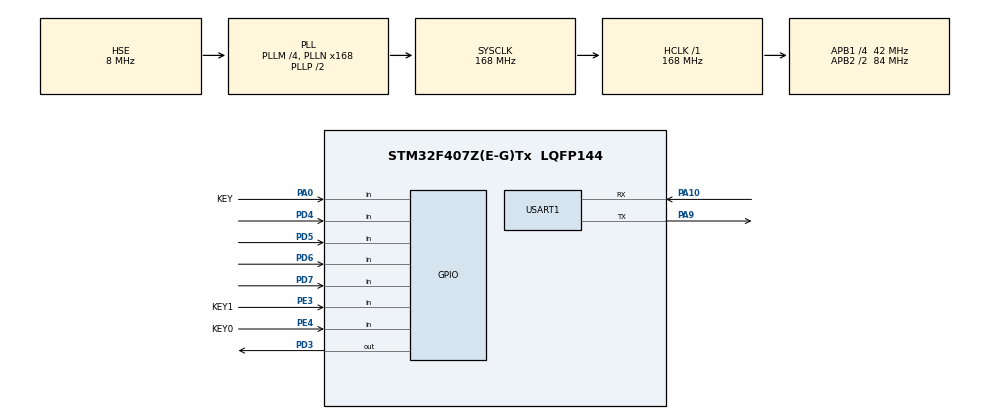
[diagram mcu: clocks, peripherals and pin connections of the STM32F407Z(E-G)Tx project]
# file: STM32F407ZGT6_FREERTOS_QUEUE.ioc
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FREERTOS.Queues01=myQueue01,2,uint16_t,0,Dynamic,NULL,NULL
FREERTOS.Tasks01=FS1,0,128,FS1_Task,Default,NULL,Dynamic,NULL,NULL;FS2,0,128,FS2_Task,Default,NULL,Dynamic,NULL,NULL;JS,0,128,JS_Task,Default,NULL,Dynamic,NULL,NULL
Mcu.Family=STM32F4
Mcu.Name=STM32F407Z(E-G)Tx
Mcu.Package=LQFP144
NVIC.PriorityGroup=NVIC_PRIORITYGROUP_4
NVIC.TIM7_IRQn=true\:15\:0\:false\:false\:true\:false\:false\:true\:true
NVIC.TimeBase=TIM7_IRQn
NVIC.TimeBaseIP=TIM7
PA0-WKUP.GPIO_Label=KEY
PA0-WKUP.Signal=GPIO_Input
PA10.Mode=Asynchronous
PA10.Signal=USART1_RX
PA13.Mode=Serial_Wire
PA13.Signal=SYS_JTMS-SWDIO
PA14.Mode=Serial_Wire
PA14.Signal=SYS_JTCK-SWCLK
PA9.Mode=Asynchronous
PA9.Signal=USART1_TX
PD3.PinState=GPIO_PIN_SET
PD3.Signal=GPIO_Output
PD4.GPIO_PuPd=GPIO_PULLDOWN
PD4.Signal=GPIO_Input
PD5.GPIO_PuPd=GPIO_PULLDOWN
PD5.Signal=GPIO_Input
PD6.GPIO_PuPd=GPIO_PULLDOWN
PD6.Signal=GPIO_Input
PD7.GPIO_PuPd=GPIO_PULLDOWN
PD7.Signal=GPIO_Input
PE3.GPIO_Label=KEY1
PE3.Signal=GPIO_Input
PE4.GPIO_Label=KEY0
PE4.Signal=GPIO_Input
PH0-OSC_IN.Mode=HSE-External-Oscillator
PH0-OSC_IN.Signal=RCC_OSC_IN
PH1-OSC_OUT.Mode=HSE-External-Oscillator
PH1-OSC_OUT.Signal=RCC_OSC_OUT
ProjectManager.HeapSize=0x200
ProjectManager.StackSize=0x400
ProjectManager.TargetToolchain=MDK-ARM V5.32
RCC.48MHZClocksFreq_Value=84000000
RCC.AHBFreq_Value=168000000
RCC.APB1CLKDivider=RCC_HCLK_DIV4
RCC.APB1Freq_Value=42000000
RCC.APB1TimFreq_Value=84000000
RCC.APB2CLKDivider=RCC_HCLK_DIV2
RCC.APB2Freq_Value=84000000
RCC.APB2TimFreq_Value=168000000
RCC.CortexFreq_Value=168000000
RCC.HCLKFreq_Value=168000000
RCC.HSE_VALUE=8000000
RCC.HSI_VALUE=16000000
RCC.LSE_VALUE=32768
RCC.PLLM=4
RCC.PLLN=168
RCC.PLLSourceVirtual=RCC_PLLSOURCE_HSE
RCC.SYSCLKFreq_VALUE=168000000
RCC.SYSCLKSource=RCC_SYSCLKSOURCE_PLLCLK
RCC.VCOOutputFreq_Value=336000000
USART1.VirtualMode=VM_ASYNC
VP_FREERTOS_VS_CMSIS_V1.Mode=CMSIS_V1
VP_SYS_VS_tim7.Mode=TIM7
board=custom

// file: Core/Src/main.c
/* USER CODE BEGIN Header */
/**
  ******************************************************************************
  * @file           : main.c
  * @brief          : Main program body
  ******************************************************************************
  * @attention
  *
  * Copyright (c) 2023 STMicroelectronics.
  * All rights reserved.
  *
  * This software is licensed under terms that can be found in the LICENSE file
  * in the root directory of this software component.
  * If no LICENSE file comes with this software, it is provided AS-IS.
  *
  ******************************************************************************
  */
/* USER CODE END Header */
#include "main.h"
#include "cmsis_os.h"
#include "usart.h"
#include "gpio.h"

/* USER CODE BEGIN Includes */
#include "stdio.h"
/* USER CODE END Includes */

void SystemClock_Config(void);
void MX_FREERTOS_Init(void);

/* USER CODE BEGIN 0 */
int fputc(int ch,FILE *f)
{
  HAL_UART_Transmit(&huart1,(uint8_t *)(&ch),sizeof(ch),HAL_MAX_DELAY);
  return ch;
}
/* USER CODE END 0 */

int main(void)
{

  /* MCU Configuration--------------------------------------------------------*/

  /* Reset of all peripherals, Initializes the Flash interface and the Systick. */
  HAL_Init();

  /* Configure the system clock */
  SystemClock_Config();

  /* Initialize all configured peripherals */
  MX_GPIO_Init();
  MX_USART1_UART_Init();

  /* Call init function for freertos objects (in freertos.c) */
  MX_FREERTOS_Init();

  /* Start scheduler */
  osKernelStart();

  /* We should never get here as control is now taken by the scheduler */
  /* Infinite loop */
  while (1)
  {

  }
}

void SystemClock_Config(void)
{
  RCC_OscInitTypeDef RCC_OscInitStruct = {0};
  RCC_ClkInitTypeDef RCC_ClkInitStruct = {0};

  /** Configure the main internal regulator output voltage
  */
  __HAL_RCC_PWR_CLK_ENABLE();
  __HAL_PWR_VOLTAGESCALING_CONFIG(PWR_REGULATOR_VOLTAGE_SCALE1);

  /** Initializes the RCC Oscillators according to the specified parameters
  * in the RCC_OscInitTypeDef structure.
  */
  RCC_OscInitStruct.OscillatorType = RCC_OSCILLATORTYPE_HSE;
  RCC_OscInitStruct.HSEState = RCC_HSE_ON;
  RCC_OscInitStruct.PLL.PLLState = RCC_PLL_ON;
  RCC_OscInitStruct.PLL.PLLSource = RCC_PLLSOURCE_HSE;
  RCC_OscInitStruct.PLL.PLLM = 4;
  RCC_OscInitStruct.PLL.PLLN = 168;
  RCC_OscInitStruct.PLL.PLLP = RCC_PLLP_DIV2;
  RCC_OscInitStruct.PLL.PLLQ = 4;
  if (HAL_RCC_OscConfig(&RCC_OscInitStruct) != HAL_OK)
  {
    Error_Handler();
  }

  /** Initializes the CPU, AHB and APB buses clocks
  */
  RCC_ClkInitStruct.ClockType = RCC_CLOCKTYPE_HCLK|RCC_CLOCKTYPE_SYSCLK
                              |RCC_CLOCKTYPE_PCLK1|RCC_CLOCKTYPE_PCLK2;
  RCC_ClkInitStruct.SYSCLKSource = RCC_SYSCLKSOURCE_PLLCLK;
  RCC_ClkInitStruct.AHBCLKDivider = RCC_SYSCLK_DIV1;
  RCC_ClkInitStruct.APB1CLKDivider = RCC_HCLK_DIV4;
  RCC_ClkInitStruct.APB2CLKDivider = RCC_HCLK_DIV2;

  if (HAL_RCC_ClockConfig(&RCC_ClkInitStruct, FLASH_LATENCY_5) != HAL_OK)
  {
    Error_Handler();
  }
}

void HAL_TIM_PeriodElapsedCallback(TIM_HandleTypeDef *htim)
{
  if (htim->Instance == TIM7) {
    HAL_IncTick();
  }
}

void Error_Handler(void)
{
  __disable_irq();
  while (1)
  {
  }
}

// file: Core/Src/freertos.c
/* USER CODE BEGIN Header */
/**
  ******************************************************************************
  * File Name          : freertos.c
  * Description        : Code for freertos applications
  ******************************************************************************
  * @attention
  *
  * Copyright (c) 2023 STMicroelectronics.
  * All rights reserved.
  *
  * This software is licensed under terms that can be found in the LICENSE file
  * in the root directory of this software component.
  * If no LICENSE file comes with this software, it is provided AS-IS.
  *
  ******************************************************************************
  */
/* USER CODE END Header */

#include "FreeRTOS.h"
#include "task.h"
#include "main.h"
#include "cmsis_os.h"

/* USER CODE BEGIN Includes */
#include "stdio.h"
/* USER CODE END Includes */

osThreadId FS1Handle;
osThreadId FS2Handle;
osThreadId JSHandle;
osMessageQId myQueue01Handle;

/* USER CODE BEGIN FunctionPrototypes */
uint8_t key_scan(void);
/* USER CODE END FunctionPrototypes */

void FS1_Task(void const * argument);
void FS2_Task(void const * argument);
void JS_Task(void const * argument);

void MX_FREERTOS_Init(void); /* (MISRA C 2004 rule 8.1) */

/* GetIdleTaskMemory prototype (linked to static allocation support) */
void vApplicationGetIdleTaskMemory( StaticTask_t **ppxIdleTaskTCBBuffer, StackType_t **ppxIdleTaskStackBuffer, uint32_t *pulIdleTaskStackSize );

/* USER CODE BEGIN GET_IDLE_TASK_MEMORY */
static StaticTask_t xIdleTaskTCBBuffer;
static StackType_t xIdleStack[configMINIMAL_STACK_SIZE];

void vApplicationGetIdleTaskMemory( StaticTask_t **ppxIdleTaskTCBBuffer, StackType_t **ppxIdleTaskStackBuffer, uint32_t *pulIdleTaskStackSize )
{
  *ppxIdleTaskTCBBuffer = &xIdleTaskTCBBuffer;
  *ppxIdleTaskStackBuffer = &xIdleStack[0];
  *pulIdleTaskStackSize = configMINIMAL_STACK_SIZE;
  /* place for user code */
}
/* USER CODE END GET_IDLE_TASK_MEMORY */

void MX_FREERTOS_Init(void) {

  /* Create the queue(s) */
  /* definition and creation of myQueue01 */
  osMessageQDef(myQueue01, 2, uint16_t);
  myQueue01Handle = osMessageCreate(osMessageQ(myQueue01), NULL);

  /* Create the thread(s) */
  /* definition and creation of FS1 */
  osThreadDef(FS1, FS1_Task, osPriorityNormal, 0, 128);
  FS1Handle = osThreadCreate(osThread(FS1), NULL);

  /* definition and creation of FS2 */
  osThreadDef(FS2, FS2_Task, osPriorityNormal, 0, 128);
  FS2Handle = osThreadCreate(osThread(FS2), NULL);

  /* definition and creation of JS */
  osThreadDef(JS, JS_Task, osPriorityNormal, 0, 128);
  JSHandle = osThreadCreate(osThread(JS), NULL);

}

void FS1_Task(void const * argument)
{
  /* USER CODE BEGIN FS1_Task */
  uint16_t buf = 1024;
  BaseType_t status = pdFAIL;
  /* Infinite loop */
  for(;;)
  {
    if(key_scan() == 1)
    {
      status = xQueueSend(myQueue01Handle,&buf,0);
      if(status == pdPASS)
        printf("write list:%d\r\n",buf);
      else
        printf("write list fail\r\n");
    }
    osDelay(100);
  }
  /* USER CODE END FS1_Task */
}

void FS2_Task(void const * argument)
{
  /* USER CODE BEGIN FS2_Task */
  uint16_t buf = 666;
  BaseType_t status = pdFAIL;
  /* Infinite loop */
  for(;;)
  {
    if(key_scan() == 2)
    {
      status = xQueueSend(myQueue01Handle,&buf,0);
      if(status == pdPASS)
        printf("write list:%d\r\n",buf);
      else
        printf("write list fail\r\n");
    }
    osDelay(100);
  }
  /* USER CODE END FS2_Task */
}

void JS_Task(void const * argument)
{
  /* USER CODE BEGIN JS_Task */
  uint16_t buf;
  BaseType_t status = pdFAIL;
  /* Infinite loop */
  for(;;)
  {
    if(key_scan() == 3)
    {
      status = xQueueReceive(myQueue01Handle,&buf,0);
      if(status == pdPASS)
        printf("read list:%d\r\n",buf);
      else
        printf("read list fail\r\n");
    }
    osDelay(100);
  }
  /* USER CODE END JS_Task */
}

/* USER CODE BEGIN Application */
uint8_t key_scan(void)
{
  uint8_t key_val = 0;
  if(HAL_GPIO_ReadPin(GPIOD,GPIO_PIN_4) == GPIO_PIN_SET)
  {
    osDelay(20);
    if(HAL_GPIO_ReadPin(GPIOD,GPIO_PIN_4) == GPIO_PIN_SET)
    {
      key_val = 1;
    }
  }
  if(HAL_GPIO_ReadPin(GPIOD,GPIO_PIN_5) == GPIO_PIN_SET)
  {
    osDelay(20);
    if(HAL_GPIO_ReadPin(GPIOD,GPIO_PIN_5) == GPIO_PIN_SET)
    {
      key_val = 2;
    }
  }
  if(HAL_GPIO_ReadPin(GPIOD,GPIO_PIN_6) == GPIO_PIN_SET)
  {
    osDelay(20);
    if(HAL_GPIO_ReadPin(GPIOD,GPIO_PIN_6) == GPIO_PIN_SET)
    {
      key_val = 3;
    }
  }
  if(HAL_GPIO_ReadPin(GPIOD,GPIO_PIN_7) == GPIO_PIN_SET)
  {
    osDelay(20);
    if(HAL_GPIO_ReadPin(GPIOD,GPIO_PIN_7) == GPIO_PIN_SET)
    {
      key_val = 4;
    }
  }
  return key_val;
}
/* USER CODE END Application */
